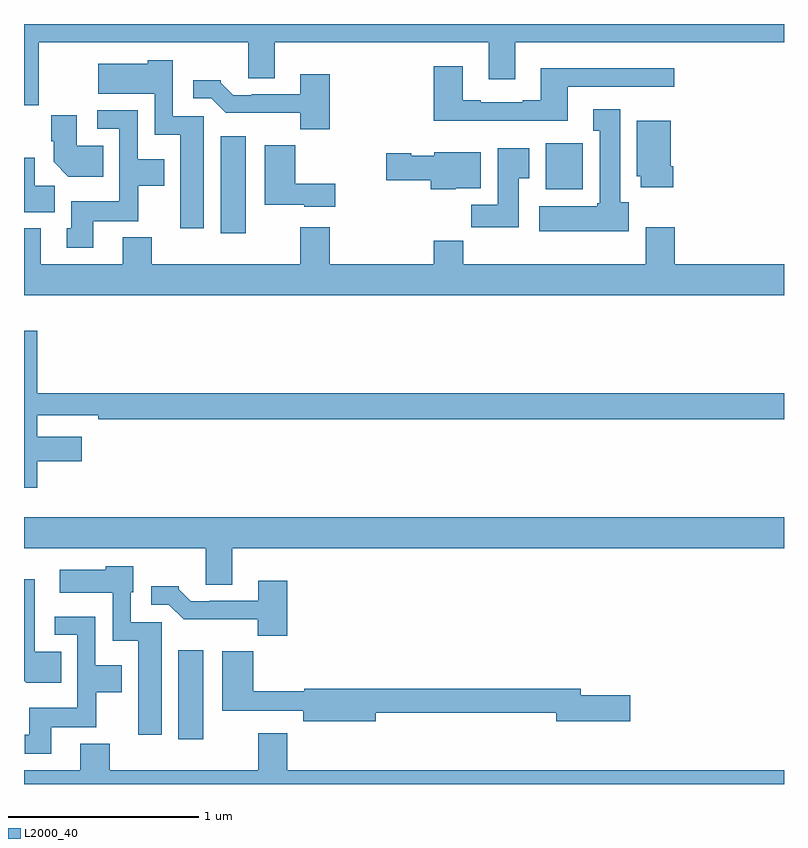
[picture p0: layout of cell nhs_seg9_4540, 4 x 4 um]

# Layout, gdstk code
import gdstk
lib = gdstk.Library(unit=1e-6, precision=1e-09)
def R(c, l, rs):  # rectangles x0, y0, x1, y1
    for r in rs: c.add(gdstk.rectangle(r[:2], r[2:], *l))
def P(c, l, *ps):  # polygons
    for p in ps: c.add(gdstk.Polygon(p, *l))
L2000_40 = (2000, 40)

nhs_seg9_4540 = lib.new_cell('nhs_seg9_4540')
R(nhs_seg9_4540, L2000_40, [(371.813,1208.736,371.944,1209.205), (372.035,1211.4,372.166,1211.908), (373.745,1211.63,373.942,1211.872)])
P(nhs_seg9_4540, L2000_40, [(371,1212.072),(371.077,1212.072),(371.077,1212.404),(372.179,1212.404),(372.179,1212.214),(372.319,1212.214),(372.319,1212.404),(373.445,1212.404),(373.445,1212.21),(373.585,1212.21),(373.585,1212.404),(375,1212.404),(375,1212.5),(371,1212.5)],
  [(371.947,1212.015),(371.784,1212.015),(371.784,1212.31),(371.652,1212.31),(371.652,1212.292),(371.391,1212.292),(371.391,1212.134),(371.688,1212.134),(371.688,1211.918),(371.822,1211.918),(371.822,1211.424),(371.947,1211.424)],
  [(373.861,1212.171),(374.422,1212.171),(374.422,1212.268),(373.721,1212.268),(373.721,1212.1),(373.625,1212.1),(373.625,1212.087),(373.405,1212.087),(373.405,1212.1),(373.309,1212.1),(373.309,1212.277),(373.157,1212.277),(373.157,1211.99),(373.861,1211.99)],
  [(372.608,1212.235),(372.455,1212.235),(372.455,1212.129),(372.199,1212.129),(372.199,1212.126),(372.1,1212.126),(372.036,1212.19),(372.036,1212.205),(371.892,1212.205),(371.892,1212.108),(371.985,1212.108),(372.061,1212.032),(372.453,1212.032),(372.453,1211.945),(372.608,1211.945)],
  [(374.182,1211.562),(374.137,1211.562),(374.137,1212.052),(373.997,1212.052),(373.997,1211.939),(374.03,1211.939),(374.03,1211.556),(374.017,1211.556),(374.017,1211.542),(373.713,1211.542),(373.713,1211.408),(374.182,1211.408)],
  [(371.365,1211.462),(371.601,1211.462),(371.601,1211.648),(371.737,1211.648),(371.737,1211.788),(371.598,1211.788),(371.598,1212.045),(371.385,1212.045),(371.385,1211.949),(371.502,1211.949),(371.502,1211.566),(371.249,1211.566),(371.249,1211.424),(371.225,1211.424),(371.225,1211.322),(371.365,1211.322)],
  [(371.417,1211.86),(371.278,1211.86),(371.278,1212.019),(371.144,1212.019),(371.144,1211.884),(371.156,1211.884),(371.156,1211.774),(371.234,1211.696),(371.417,1211.696)],
  [(374.417,1211.752),(374.404,1211.752),(374.404,1211.992),(374.225,1211.992),(374.225,1211.7),(374.246,1211.7),(374.246,1211.64),(374.417,1211.64)],
  [(372.637,1211.659),(372.428,1211.659),(372.428,1211.863),(372.266,1211.863),(372.266,1211.549),(372.474,1211.549),(372.474,1211.537),(372.637,1211.537)],
  [(373.603,1211.689),(373.66,1211.689),(373.66,1211.845),(373.493,1211.845),(373.493,1211.548),(373.354,1211.548),(373.354,1211.43),(373.603,1211.43)],
  [(373.272,1211.636),(373.405,1211.636),(373.405,1211.824),(373.158,1211.824),(373.158,1211.806),(373.038,1211.806),(373.038,1211.819),(372.906,1211.819),(372.906,1211.677),(373.142,1211.677),(373.142,1211.63),(373.272,1211.63)],
  [(371.161,1211.648),(371.056,1211.648),(371.056,1211.797),(371,1211.797),(371,1211.51),(371.161,1211.51)],
  [(375,1211.236),(374.426,1211.236),(374.426,1211.431),(374.273,1211.431),(374.273,1211.236),(373.313,1211.236),(373.313,1211.36),(373.157,1211.36),(373.157,1211.236),(372.608,1211.236),(372.608,1211.431),(372.455,1211.431),(372.455,1211.236),(371.672,1211.236),(371.672,1211.377),(371.519,1211.377),(371.519,1211.236),(371.089,1211.236),(371.089,1211.425),(371,1211.425),(371,1211.072),(375,1211.072)],
  [(371.069,1210.198),(371.305,1210.198),(371.305,1210.327),(371.069,1210.327),(371.069,1210.44),(371.392,1210.44),(371.392,1210.42),(375,1210.42),(375,1210.556),(371.069,1210.556),(371.069,1210.885),(371,1210.885),(371,1210.059),(371.069,1210.059)],
  [(372.097,1209.74),(375,1209.74),(375,1209.904),(371,1209.904),(371,1209.74),(371.957,1209.74),(371.957,1209.55),(372.097,1209.55)],
  [(371.725,1209.351),(371.562,1209.351),(371.562,1209.51),(371.575,1209.51),(371.575,1209.646),(371.43,1209.646),(371.43,1209.628),(371.187,1209.628),(371.187,1209.506),(371.466,1209.506),(371.466,1209.254),(371.6,1209.254),(371.6,1208.76),(371.725,1208.76)],
  [(371.195,1209.196),(371.056,1209.196),(371.056,1209.577),(371,1209.577),(371,1209.044),(371.012,1209.032),(371.195,1209.032)],
  [(372.386,1209.571),(372.233,1209.571),(372.233,1209.465),(371.977,1209.465),(371.977,1209.462),(371.878,1209.462),(371.814,1209.526),(371.814,1209.541),(371.67,1209.541),(371.67,1209.444),(371.763,1209.444),(371.842,1209.366),(372.231,1209.366),(372.231,1209.281),(372.386,1209.281)],
  [(371.143,1208.798),(371.379,1208.798),(371.379,1208.984),(371.515,1208.984),(371.515,1209.124),(371.376,1209.124),(371.376,1209.381),(371.163,1209.381),(371.163,1209.285),(371.28,1209.285),(371.28,1208.902),(371.027,1208.902),(371.027,1208.76),(371.003,1208.76),(371.003,1208.658),(371.143,1208.658)],
  [(372.85,1208.874),(373.802,1208.874),(373.802,1208.831),(374.191,1208.831),(374.191,1208.966),(373.93,1208.966),(373.93,1209.002),(372.474,1209.002),(372.474,1208.987),(372.206,1208.987),(372.206,1209.199),(372.044,1209.199),(372.044,1208.886),(372.47,1208.886),(372.47,1208.831),(372.85,1208.831)],
  [(371.297,1208.713),(371.297,1208.572),(371,1208.572),(371,1208.5),(375,1208.5),(375,1208.572),(372.386,1208.572),(372.386,1208.767),(372.233,1208.767),(372.233,1208.572),(371.45,1208.572),(371.45,1208.713)])

lib.write_gds('nhs_seg9_4540.gds')
